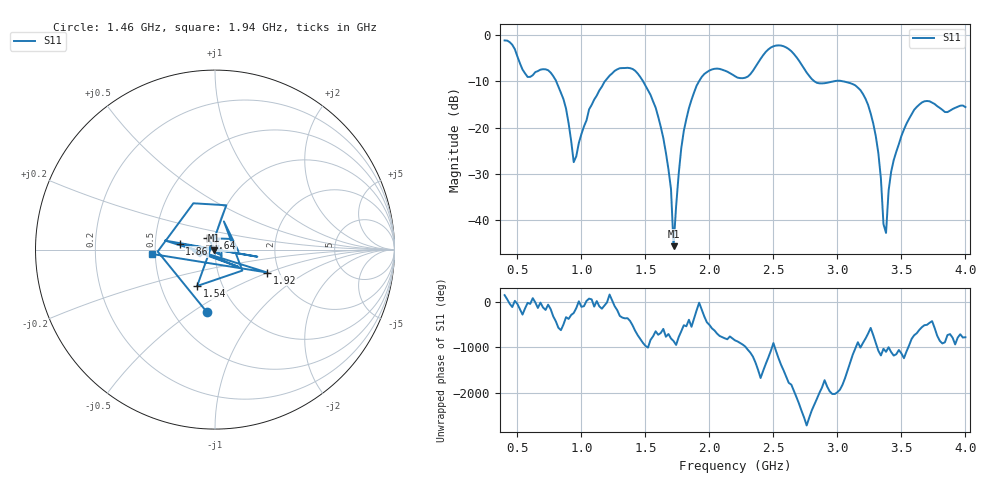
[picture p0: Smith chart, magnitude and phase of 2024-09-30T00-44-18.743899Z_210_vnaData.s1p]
!Created with skrf (http://scikit-rf.org).
# Hz S RI R 50.0
!freq ReS11 ImS11
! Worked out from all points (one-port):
!   181 points, 400 MHz to 4 GHz, reference 50 ohm
!   lowest |S11| = -45.5 dB at 1.72 GHz (marker M1), VSWR 1.01, Z = 49.6 - j0.336 ohm
!   |S11| at or under -10 dB: 803.1 MHz to 1.184 GHz (380.6 MHz wide, 38.3 % of centre); 1.482 GHz to 1.919 GHz (437.4 MHz wide, 25.7 % of centre); 3.042 GHz to end of sweep (the widest 3 of 4)
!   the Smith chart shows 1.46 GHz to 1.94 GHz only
!   S11 on the Smith chart (normalised r, x): 1.46 GHz: 0.72, -0.58; 1.54 GHz: 0.76, -0.32; 1.64 GHz: 0.91, +0.12; 1.86 GHz: 0.67, +0.05; 1.92 GHz: 1.73, -0.49; 1.94 GHz: 0.48, -0.03
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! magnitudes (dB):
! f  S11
! 400 MHz  -1.2
! 760 MHz  -8.1
! 860 MHz  -13.9
! 940 MHz  -27.4
! 1.06 GHz  -16.1
! 1.3 GHz  -7.2
! 1.46 GHz  -9.1
! 1.54 GHz  -12.9
! 1.64 GHz  -22.3
! 1.7 GHz  -33.2
! 1.72 GHz  -45.5
! 1.76 GHz  -30.0
! 1.86 GHz  -14.0
! 1.92 GHz  -10.0
! 1.94 GHz  -9.1
! 2.2 GHz  -8.9
! 2.5 GHz  -2.5
! 2.66 GHz  -4.1
! 2.84 GHz  -10.3
! 3.1 GHz  -10.4
! 3.28 GHz  -19.1
! 3.32 GHz  -25.5
! 3.36 GHz  -40.8
! 3.38 GHz  -42.7
! 3.42 GHz  -29.5
! 3.56 GHz  -18.1
! 3.68 GHz  -14.3
! 4 GHz  -15.6
